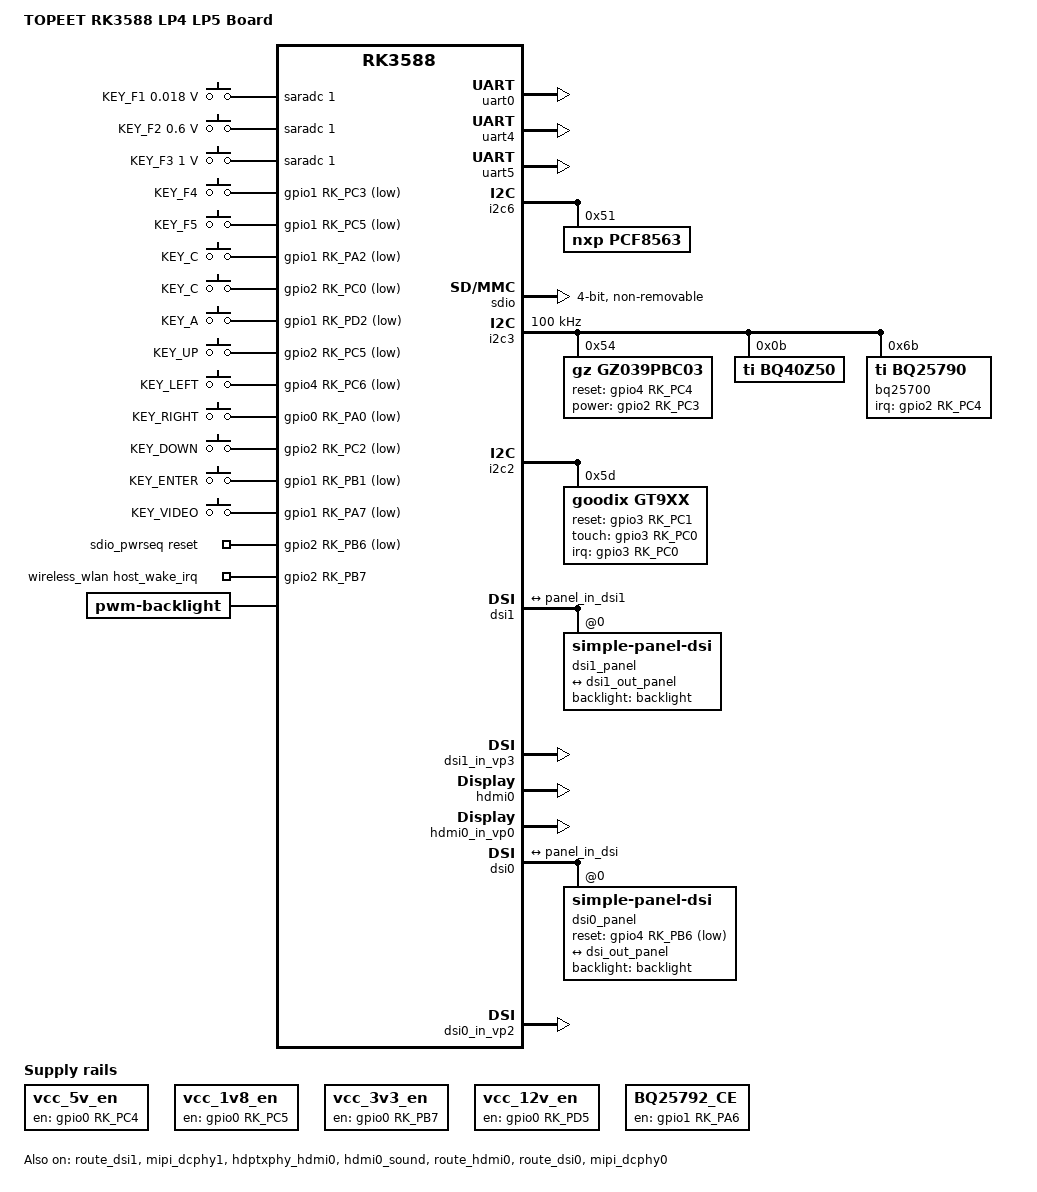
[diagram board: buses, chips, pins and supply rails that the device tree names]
/dts-v1/;

#include "topeet-rk3588-linux.dtsi"
#include "rk3588-linux.dtsi"
#include "topeet-screen-lcds.dts"
#include "topeet-camera-config.dtsi"

/ {
	model = "TOPEET RK3588 LP4 LP5 Board";
	compatible = "rockchip,rk3588-evb3-lp5-v10", "rockchip,rk3588";

    adc_keys: adc-keys {
        compatible = "adc-keys";
        io-channels = <&saradc 1>;
        io-channel-names = "buttons";
        keyup-threshold-microvolt = <1800000>;
        poll-interval = <100>;

        KEY_F1 {
            label = "KEY_F1";
            linux,code = <KEY_F1>;
			press-threshold-microvolt = <18000>;
        };

		KEY_F2 {
            label = "KEY_F2";
            linux,code = <KEY_F2>;
			press-threshold-microvolt = <600000>;
        };

		KEY_F3 {
            label = "KEY_F3";
            linux,code = <KEY_F3>;
			press-threshold-microvolt = <1000000>;
        };
    };

	gpio_keys: gpio-keys {
		compatible = "gpio-keys";

		KEY_F4 {
            label = "KEY_F4";
            gpios = <&gpio1 RK_PC3 GPIO_ACTIVE_LOW>;
            linux,code = <KEY_F4>;
        };

		KEY_F5 {
            label = "KEY_F5";
            gpios = <&gpio1 RK_PC5 GPIO_ACTIVE_LOW>;
            linux,code = <KEY_F5>;
        };

		KEY_C {
            label = "KEY_C";
            gpios = <&gpio1 RK_PA2 GPIO_ACTIVE_LOW>;
            linux,code = <KEY_0>;
        };

		KEY_S {
            label = "KEY_C";
            gpios = <&gpio2 RK_PC0 GPIO_ACTIVE_LOW>;
            linux,code = <KEY_1>;
        };

		KEY_A {
            label = "KEY_A";
            gpios = <&gpio1 RK_PD2 GPIO_ACTIVE_LOW>;
            linux,code = <KEY_2>;
        };

		KEY_UP {
            label = "KEY_UP";
            gpios = <&gpio2 RK_PC5 GPIO_ACTIVE_LOW>;
            linux,code = <KEY_3>;
        };

		KEY_LEFT {
            label = "KEY_LEFT";
            gpios = <&gpio4 RK_PC6 GPIO_ACTIVE_LOW>;
            linux,code = <KEY_4>;
        };

		KEY_RIGHT {
            label = "KEY_RIGHT";
            gpios = <&gpio0 RK_PA0 GPIO_ACTIVE_LOW>;
            linux,code = <KEY_5>;
        };

		KEY_DOWN {
            label = "KEY_DOWN";
            gpios = <&gpio2 RK_PC2 GPIO_ACTIVE_LOW>;
            linux,code = <KEY_6>;
        };

		KEY_ENTER {
            label = "KEY_ENTER";
            gpios = <&gpio1 RK_PB1 GPIO_ACTIVE_LOW>;
            linux,code = <KEY_7>;
        };

		KEY_VIDEO {
            label = "KEY_VIDEO";
            gpios = <&gpio1 RK_PA7 GPIO_ACTIVE_LOW>;
            linux,code = <KEY_8>;
        };
	};

	/* HGD 5V */
	vcc_5v_en: vcc-5v-en {
		compatible = "regulator-fixed";
		regulator-name = "vcc_5v_en";
		regulator-boot-on;
		regulator-always-on;
		enable-active-high;
		gpio = <&gpio0 RK_PC4 GPIO_ACTIVE_HIGH>;
	};

	/* HGD 1v8 */
	vcc_1v8_en: vcc-1v8-en {
		compatible = "regulator-fixed";
		regulator-name = "vcc_1v8_en";
		regulator-boot-on;
		regulator-always-on;
		enable-active-high;
		gpio = <&gpio0 RK_PC5 GPIO_ACTIVE_HIGH>;
	};

	/* HGD 3v3 */
	vcc_3v3_en: vcc-3v3-en {
		compatible = "regulator-fixed";
		regulator-name = "vcc_3v3_en";
		regulator-boot-on;
		regulator-always-on;
		enable-active-high;
		gpio = <&gpio0 RK_PB7 GPIO_ACTIVE_HIGH>;
	};

	/* HGD 12V */
	vcc_12v_en: vcc-12v-en {
		compatible = "regulator-fixed";
		regulator-name = "vcc_12v_en";
		regulator-boot-on;
		regulator-always-on;
		enable-active-high;
		gpio = <&gpio0 RK_PD5 GPIO_ACTIVE_HIGH>;
	};
        
	BQ25792-CE {
 		compatible = "regulator-fixed";
		regulator-name = "BQ25792_CE";
		regulator-boot-on;
		regulator-always-on;
		enable-active-high;
		gpio = <&gpio1 RK_PA6 GPIO_ACTIVE_HIGH>;
	};

	/* HGD-NGD_Vis DEBUG */
	// NGD_HGD_vis_en: HGD-HGD-vis-en {
	// 	compatible = "regulator-fixed";
	// 	regulator-name = "HGD-HGD-vis-en";
	// 	regulator-boot-on;
	// 	regulator-always-on;
	// 	enable-active-high;
	// 	gpio = <&gpio3 RK_PD5 GPIO_ACTIVE_HIGH>;
	// };



	/* HGD regulator dummy consumer */
	dummy_consumer {
		compatible = "dummy-consumer";
		status = "okay";
		vcc5-supply = <&vcc_5v_en>;
		vcc1-supply = <&vcc_1v8_en>;
		vcc3-supply = <&vcc_3v3_en>;
		vcc12-supply = <&vcc_12v_en>;
		// debug-supply = <&NGD_HGD_vis_en>;
	};

        //wifi 
	sdio_pwrseq: sdio-pwrseq {
		compatible = "mmc-pwrseq-simple";
		pinctrl-names = "default";
		pinctrl-0 = <&wifi_enable_h>;
		reset-gpios = <&gpio2 RK_PB6 GPIO_ACTIVE_LOW>;
	};
        wireless_wlan: wireless-wlan {
		compatible = "wlan-platdata";
		rockchip,grf = <&sys_grf>;
		pinctrl-names = "default";
		pinctrl-0 = <&wifi_wake_host>;
		wifi_chip_type = "ap6255";
		WIFI,host_wake_irq = <&gpio2 RK_PB7 GPIO_ACTIVE_HIGH>;
		status = "okay";
		
	};

	backlight: backlight {
		compatible = "pwm-backlight";
		brightness-levels = <
			0  20  20  21  21  22  22  23
			23  24  24  25  25  26  26  27
			27  28  28  29  29  30  30  31
			31  32  32  33  33  34  34  35
			35  36  36  37  37  38  38  39
			40  41  42  43  44  45  46  47
			48  49  50  51  52  53  54  55
			56  57  58  59  60  61  62  63
			64  65  66  67  68  69  70  71
			72  73  74  75  76  77  78  79
			80  81  82  83  84  85  86  87
			88  89  90  91  92  93  94  95
			96  97  98  99 100 101 102 103
			104 105 106 107 108 109 110 111
			112 113 114 115 116 117 118 119
			120 121 122 123 124 125 126 127
			128 129 130 131 132 133 134 135
			136 137 138 139 140 141 142 143
			144 145 146 147 148 149 150 151
			152 153 154 155 156 157 158 159
			160 161 162 163 164 165 166 167
			168 169 170 171 172 173 174 175
			176 177 178 179 180 181 182 183
			184 185 186 187 188 189 190 191
			192 193 194 195 196 197 198 199
			200 201 202 203 204 205 206 207
			208 209 210 211 212 213 214 215
			216 217 218 219 220 221 222 223
			224 225 226 227 228 229 230 231
			232 233 234 235 236 237 238 239
			240 241 242 243 244 245 246 247
			248 249 250 251 252 253 254 255
		>;
		default-brightness-level = <200>;
	};
};

&uart0 {
        status = "okay";
        pinctrl-names = "default";
        pinctrl-0 = <&uart0m2_xfer>;
};

// 红外机芯 (topeet board, for NGD visible debug)
// @note Conflict with i2c4_m1
// &uart7 {
//         status = "okay";
//         pinctrl-names = "default";
//         pinctrl-0 = <&uart7m0_xfer>;
// };

// 红外机芯 (HGD board, for NGD visible debug)
// &uart1 {
//         status = "okay";
//         pinctrl-names = "default";
//         pinctrl-0 = <&uart1m1_xfer>;
// };

// HGD, connect to IR Motor.
&uart4 {
        status = "okay";
        pinctrl-names = "default";
        pinctrl-0 = <&uart4m2_xfer>;
};

// HGD, connect to IR sensor.
&uart5 {
        status = "okay";
        pinctrl-names = "default";
        pinctrl-0 = <&uart5m0_xfer>;
};

&i2c6 {
	pcf8563: pcf8563@51 {
		compatible = "nxp,pcf8563";
		reg = <0x51>;
		#clock-cells = <0>;
	};
};

&pinctrl {
	/* WIFI_REG_ON脚的pinctrl的配置 */
	sdio-pwrseq {
		
		wifi_enable_h: wifi-enable-h {
			
			rockchip,pins = <2 RK_PB6 RK_FUNC_GPIO &pcfg_pull_none>;
						
		};
	};
	/* wifi节点 */
	wireless-wlan {
		/omit-if-no-ref/
		wifi_wake_host: wifi-wake-host {
			rockchip,pins = <2 RK_PB7 0 &pcfg_pull_down>;	//(XXXX)
		};
	};
};

&sdio {
        max-frequency = <100000000>; //设置最大的频率，可以根据硬件设计改小
        supports-sdio;
		no-sd;
        no-mmc;
        bus-width = <4>; 
        disable-wp;
        cap-sd-highspeed; //此配置同 SD 卡功能，作为 SDIO 外设，也有区分是否为 highspeed 的 SDIO 外设
        cap-sdio-irq; //此配置标识该 SDIO 外设(通常是 Wifi)是否支持 sdio 中断，如果你的外设是 OOB 中断，请不要加入此项。支持哪种类型的中断请联系 Wifi 原厂确定。
        keep-power-in-suspend; //此配置表示是否支持睡眠不断电，请默认加入该选项。Wifi 一般都有深度唤醒的要求。
        mmc-pwrseq = <&sdio_pwrseq>; //此项是 SDIO 外设(一般是 Wifi)的电源控制。为必须项，否则 Wifi 无法上电工作。请参考下面的例子，晶振时钟和复位-使能的 GPIO 的选择按照实际板级硬件要求进行配置。
        non-removable; //此项表示该插槽为不可移动设备且此项为 SDIO 设备必须添加项。
        pinctrl-names = "default";
        pinctrl-0 = <&sdiom0_pins>;
        sd-uhs-sdr104; //此项配置决定该 SDIO 设备是否支持 SDIO3.0 模式。前提是需要 Wifi 的 IO 电压为 1.8v。同SDMMC配置
        status = "okay";
};

/* EVF */
&i2c3 {
	status = "okay";
	pinctrl-0 = <&i2c3m0_xfer>;
    clock-frequency = <100000>;
	gz039pbc03:gz039pbc03@54 {
		compatible="gz,gz039pbc03";
		reg =<0x54>;
		reset-gpios = <&gpio4 RK_PC4 GPIO_ACTIVE_HIGH>;
		power-gpios = <&gpio2 RK_PC3 GPIO_ACTIVE_HIGH>;
	};
	//
    bq40z50:bq40z50@11{
		compatible = "ti,bq40z50";
		reg = <0xb>;
		status = "okay";
	};
    bq25700: bq25700@6b {
        compatible = "ti,bq25790";
        reg = <0x6b>;
        interrupt-parent = <&gpio2>;
        interrupts = <RK_PC4 IRQ_TYPE_LEVEL_LOW>;
        status = "okay";
		manufacturer = "Texas Instruments";
    };
	// lt9211c: lt9211c@29 {
	// 	compatible = "lontium,lt9211c";
	// 	reg = <0x29>;
	// 	reset-gpios = <&gpio4 RK_PC3 GPIO_ACTIVE_LOW>;
	// 	status = "okay";/*"okay";*/ /*disable for lt9211d to use the reset-gpios*/
	// };
};

&i2c2 {
	status = "okay";
	pinctrl-0 = <&i2c2m4_xfer>;

	gt9xx: gt9xx@5d {
		compatible = "goodix,gt9xx";
		reg = <0x5d>;
		interrupt-parent = <&gpio3>;
		interrupts = <RK_PC0 IRQ_TYPE_LEVEL_LOW>;
		reset-gpio = <&gpio3 RK_PC1 GPIO_ACTIVE_HIGH>;
		touch-gpio = <&gpio3 RK_PC0 IRQ_TYPE_EDGE_RISING>;
		max-x = <1920>;
		max-y = <1080>;
        tp-size = <911>;
		status = "okay";
	};
};

/* ========================================================================================== */
/* ======================================== DSI1 EVF ======================================== */
/* ========================================================================================== */

&dsi1 {
	status = "okay";
	//rockchip,lane-rate = <1000>;
	dsi1_panel: panel@0 {
		status = "okay";
		compatible = "simple-panel-dsi";
		reg = <0>;
		backlight = <&backlight>;
		reset-delay-ms = <10>;
		enable-delay-ms = <35>;
		prepare-delay-ms = <6>;
		unprepare-delay-ms = <0>;
		disable-delay-ms = <20>;

		dsi,flags = <(MIPI_DSI_MODE_VIDEO | MIPI_DSI_MODE_VIDEO_BURST | MIPI_DSI_MODE_LPM | MIPI_DSI_MODE_EOT_PACKET)>;
		dsi,format = <MIPI_DSI_FMT_RGB888>;
		dsi,lanes  = <4>;
		dsi,channel = <0>;

		size,width = <120>;
		size,height = <170>;

		panel-init-sequence = [
		];

		panel-exit-sequence = [
		];

		disp_timings1: display-timings {
			native-mode = <&dsi1_timing0>;
			dsi1_timing0: timing0 {
				clock-frequency = <65000000>;
				hactive = <1024>;
				vactive = <768>;
				hfront-porch = <24>;
				hsync-len = <136>;
				hback-porch = <160>;
				vfront-porch = <3>;
				vsync-len = <6>;
				vback-porch = <29>;
				hsync-active = <1>;
				vsync-active = <1>;
				de-active = <1>;
				pixelclk-active = <1>;
			};
		};

		ports {
			#address-cells = <1>;
			#size-cells = <0>;

			port@0 {
				reg = <0>;
				panel_in_dsi1: endpoint {
					remote-endpoint = <&dsi1_out_panel>;
				};
			};
		};
	};

	ports {
		#address-cells = <1>;
		#size-cells = <0>;

		port@1 {
			reg = <1>;
			dsi1_out_panel: endpoint {
				remote-endpoint = <&panel_in_dsi1>;
			};
		};
	};
};

// &backlight {
// 	pwms = <&pwm1 0 25000 0>;
// 	status = "okay";
// };

// &pwm1 {
// 	status = "okay";
// };

&route_dsi1 {
	status = "okay";
	connect = <&vp3_out_dsi1>;
};

&dsi1_in_vp3 {
	status = "okay";
};

&dsi1_in_vp2 {
	status = "disabled";
};

&mipi_dcphy1 {
	status = "okay";
};

/* ====================================================================================== */
/* ======================================== HDMI ======================================== */
/* ====================================================================================== */

&hdptxphy_hdmi0 {
	status = "okay";
};

&hdmi0 {
	// enable-gpios = <&gpio4 RK_PB1 GPIO_ACTIVE_HIGH>;
	status = "okay";
};

&hdmi0_in_vp0 {
	status = "okay";
};

&hdmi0_sound {
	status = "okay";
};

&route_hdmi0 {
	status = "okay";
};

/* ============================================================================================ */
/* ======================================== DSI0 Panel ======================================== */
/* ============================================================================================ */

&dsi0 {
	status = "okay";

	dsi0_panel: panel@0 {
		status = "okay";
		compatible = "simple-panel-dsi";
		reg = <0>;
		backlight = <&backlight>;

		prepare-delay-ms = <60>;
        enable-delay-ms = <60>;
		reset-delay-ms = <80>;
		init-delay-ms = <80>;
		disable-delay-ms = <60>;
		unprepare-delay-ms = <60>;

		dsi,flags = <(MIPI_DSI_MODE_VIDEO | MIPI_DSI_MODE_VIDEO_BURST | MIPI_DSI_MODE_LPM | MIPI_DSI_MODE_EOT_PACKET)>;
		dsi,format = <MIPI_DSI_FMT_RGB888>;
		dsi,lanes  = <4>;
		dsi,channel = <0>;

		size,width = <120>;
		size,height = <170>;

		reset-gpios = <&gpio4 RK_PB6 GPIO_ACTIVE_LOW>;

		panel-init-sequence = [
			39 00 04 B9 FF 83 99
			15 00 02 D2 77
			39 00 10 B1 02 04 74 94 01 32 33 11 11 AB 4D 56 73 02 02
			39 00 10 B2 00 80 80 AE 05 07 5A 11 00 00 10 1E 70 03 D4
			39 00 2D B4 00 FF 02 C0 02 C0 00 00 08 00 04 06 00 32 04 0A 08 21 03 01 00 0F B8 8B 02 C0 02 C0 00 00 08 00 04 06 00 32 04 0A 08 01 00 0F B8 01
			39 0A 22 D3 00 00 00 00 00 00 06 00 00 10 04 00 04 00 00 00 00 00 00 00 00 00 00 01 00 05 05 07 00 00 00 05 40
			39 0A 21 D5 18 18 19 19 18 18 21 20 01 00 07 06 05 04 03 02 18 18 18 18 18 18 2F 2F 30 30 31 31 18 18 18 18
			39 0A 21 D6 18 18 19 19 40 40 20 21 06 07 00 01 02 03 04 05 40 40 40 40 40 40 2F 2F 30 30 31 31 40 40 40 40
			39 00 11 D8 A2 AA 02 A0 A2 A8 02 A0 B0 00 00 00 B0 00 00 00
			15 00 02 BD 01
			39 00 11 D8 B0 00 00 00 B0 00 00 00 E2 AA 03 F0 E2 AA 03 F0
			15 00 02 BD 02
			39 00 09 D8 E2 AA 03 F0 E2 AA 03 F0
			15 00 02 BD 00
			39 00 03 B6 8D 8D
			39 0A 37 E0 00 0E 19 13 2E 39 48 44 4D 57 5F 66 6C 76 7F 85 8A 95 9A A4 9B AB B0 5C 58 64 77 00 0E 19 13 2E 39 48 44 4D 57 5F 66 6C 76 7F 85 8A 95 9A A4 9B AB B0 5C 58 64 77
			15 00 02 CC 08
			05 78 01 11
			05 14 01 29
		];

		panel-exit-sequence = [
		];

		disp_timings0: display-timings {
			native-mode = <&dsi0_timing0>;
			dsi0_timing0: timing0 {
                clock-frequency = <136000000>;
                hactive = <1080>;
                vactive = <1920>;
                hfront-porch = <45>;
                hsync-len = <45>;
                hback-porch = <5>;
                vfront-porch = <9>;
                vsync-len = <4>;
                vback-porch = <3>;
                hsync-active = <0>;
                vsync-active = <0>;
                de-active = <0>;
                pixelclk-active = <0>;
			};
		};

		ports {
			#address-cells = <1>;
			#size-cells = <0>;

			port@0 {
				reg = <0>;
				panel_in_dsi: endpoint {
					remote-endpoint = <&dsi_out_panel>;
				};
			};
		};
	};

	ports {
		#address-cells = <1>;
		#size-cells = <0>;

		port@1 {
			reg = <1>;
			dsi_out_panel: endpoint {
				remote-endpoint = <&panel_in_dsi>;
			};
		};
	};

};

&route_dsi0 {
	status = "okay";
	connect = <&vp2_out_dsi0>;
};

&dsi0_in_vp2 {
	status = "okay";
};

&dsi0_in_vp3 {
	status = "disabled";
};

&mipi_dcphy0 {
	status = "okay";
};
